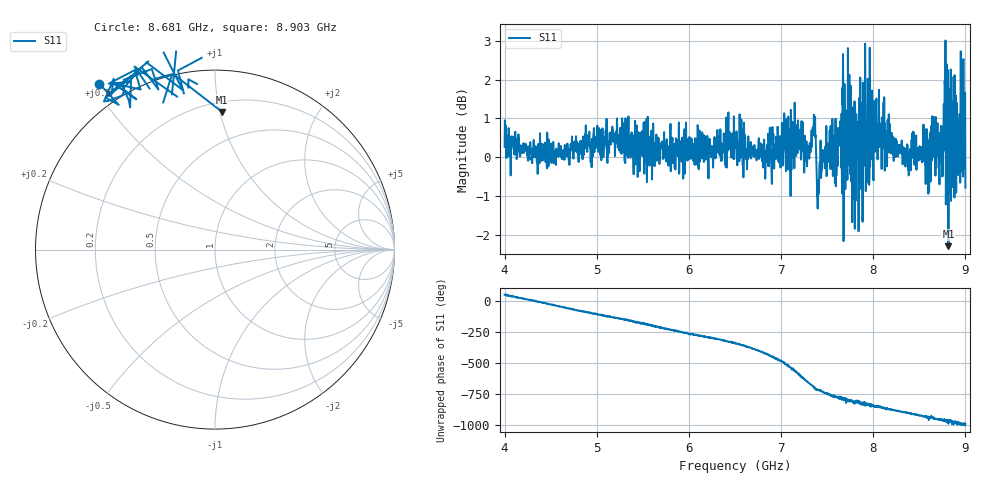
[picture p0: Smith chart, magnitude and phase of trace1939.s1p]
! Created with skrf 1.8.0 (http://scikit-rf.org).
# Hz S RI R 50.0
!freq ReS11 ImS11
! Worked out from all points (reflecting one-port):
!   1601 points, 4 GHz to 9 GHz, reference 50 ohm
!   lowest |S11| = -2.3 dB at 8.816 GHz (marker M1), VSWR 7.63, Z = 13.6 + j50.8 ohm
!   phase of S11 starts at 51 deg and turns -1047 deg over the sweep
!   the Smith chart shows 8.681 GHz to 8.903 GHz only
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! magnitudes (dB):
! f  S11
! 4 GHz  0.3
! 4.625 GHz  0.0
! 5.25 GHz  0.3
! 5.875 GHz  0.2
! 6.5 GHz  0.3
! 6.819 GHz  0.3
! 7.125 GHz  0.0
! 7.269 GHz  0.2
! 7.353 GHz  0.7
! 7.412 GHz  -0.7
! 7.534 GHz  0.5
! 7.588 GHz  0.1
! 7.65 GHz  0.5
! 7.75 GHz  -0.4
! 7.784 GHz  -0.5
! 7.928 GHz  0.9
! 7.981 GHz  0.1
! 8.038 GHz  0.2
! 8.375 GHz  0.2
! 8.559 GHz  0.7
! 8.612 GHz  0.4
! 8.656 GHz  0.4
! 8.731 GHz  0.4
! 8.788 GHz  -1.2
! 8.816 GHz  -2.3
! 8.919 GHz  -0.3
! 8.972 GHz  0.6
! 9 GHz  -0.8
